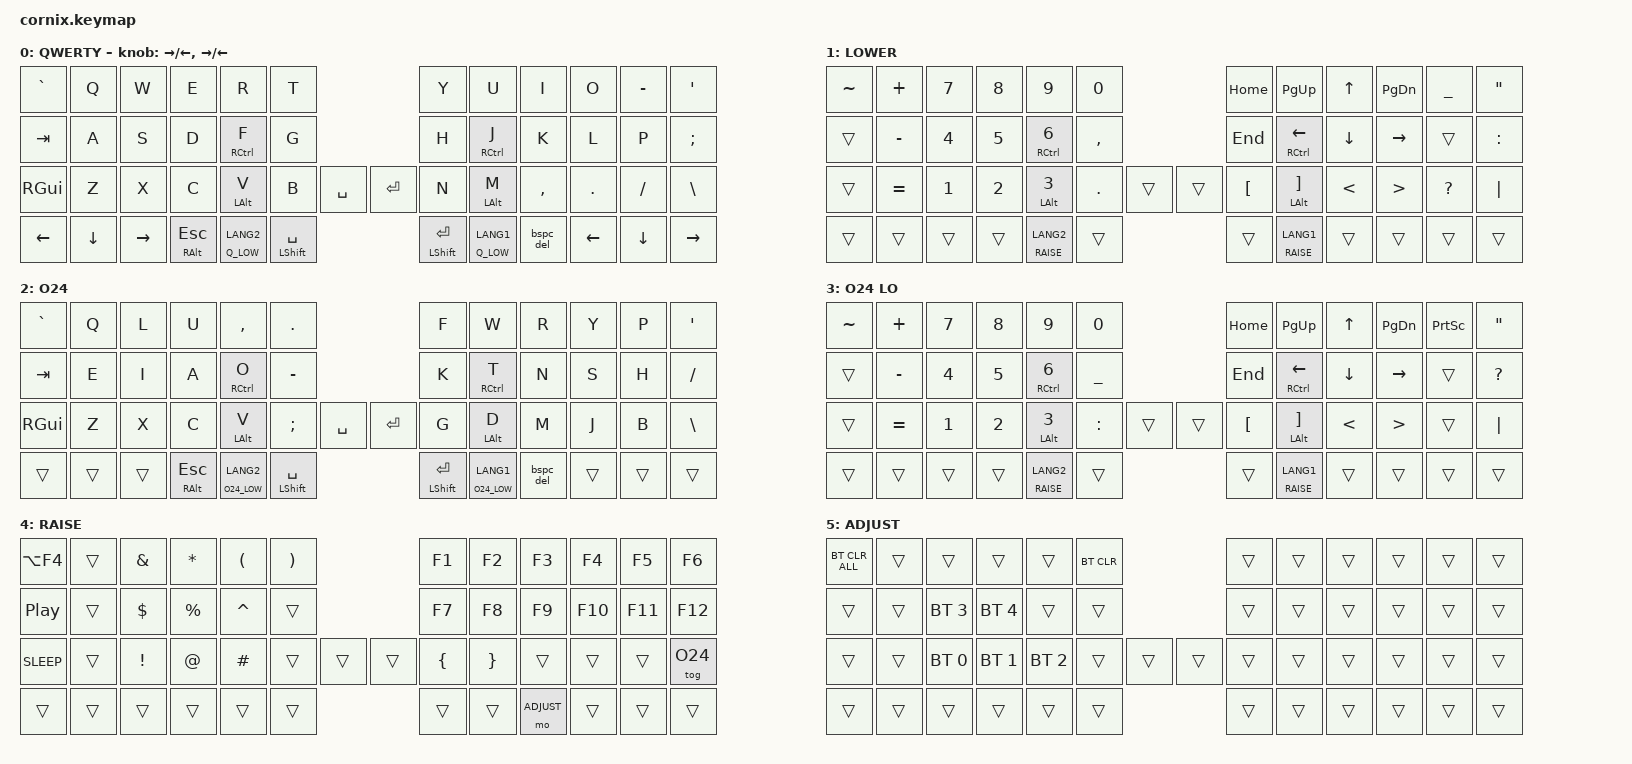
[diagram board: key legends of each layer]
/*
 * Copyright (c) 2020 The ZMK Contributors
 *
 * SPDX-License-Identifier: MIT
 */

#include "zmk-helpers/helper.h"
#include "includes/cornix54.h"
#include <behaviors.dtsi>
#include <dt-bindings/zmk/bt.h>
#include <dt-bindings/zmk/keys.h>
#include <dt-bindings/zmk/ext_power.h>

#define QWERTY  0
#define Q_LOW   1
#define O24     2
#define O24_LOW 3
#define RAISE   4
#define ADJUST  5

// https://github.com/urob/zmk-config/tree/main#timeless-homerow-mods

/ {
    // Activate ADJUST layer by pressing raise and lower

    behaviors {
        hm: homerow_mods {
            compatible = "zmk,behavior-hold-tap";
            #binding-cells = <2>;
            bindings = <&kp>, <&kp>;

            flavor = "tap-preferred";
            tapping-term-ms = <180>;
            quick-tap-ms = <180>;
            require-prior-idle-ms = <125>;
        };

        bspc_del: backspace_delete {
            compatible = "zmk,behavior-mod-morph";
            display-name = "Backspace/Delete";
            #binding-cells = <0>;
            bindings = <&kp BACKSPACE>, <&kp DELETE>;
            mods = <(MOD_LSFT|MOD_RSFT)>;
        };

        tdquit: tap_dance_quit {
            compatible = "zmk,behavior-tap-dance";
            display-name = "Tap Dance/App Quit";
            #binding-cells = <0>;
            bindings = <&kp TILDE>, <&kp LA(F4)>;
            tapping-term-ms = <180>;
        };
    };

    keymap {
        compatible = "zmk,keymap";

        qwerty_layer {
            display-name = "QWERTY";
            bindings = <
&kp GRAVE           &kp Q               &kp W               &kp E               &kp R               &kp T                                                       &kp Y               &kp U               &kp I               &kp O               &kp MINUS           &kp SQT
&kp TAB             &kp A               &kp S               &kp D               &hm RCTRL F         &kp G                                                       &kp H               &hm RCTRL J         &kp K               &kp L               &kp P               &kp SEMI
&kp RGUI            &kp Z               &kp X               &kp C               &hm LALT  V         &kp B               &kp SPACE           &kp ENTER           &kp N               &hm LALT  M         &kp COMMA           &kp DOT             &kp FSLH            &kp BSLH
&kp LEFT            &kp DOWN            &kp RIGHT           &hm RALT ESC        &lt Q_LOW LANG2     &hm LSHIFT SPACE                                            &hm LSHIFT ENTER    &lt Q_LOW LANG1     &bspc_del           &kp LEFT            &kp DOWN            &kp RIGHT
            >;
            sensor-bindings = <&inc_dec_kp RIGHT LEFT &inc_dec_kp RIGHT LEFT>;
        };

        qwerty_lower_layer {
            display-name = "LOWER";
            bindings = <
&kp TILDE           &kp PLUS            &kp N7              &kp N8              &kp N9              &kp N0                                                      &kp HOME            &kp PG_UP           &kp UP              &kp PG_DN           &kp UNDER           &kp DQT
&trans              &kp MINUS           &kp N4              &kp N5              &hm RCTRL N6        &kp COMMA                                                   &kp END             &hm RCTRL LEFT      &kp DOWN            &kp RIGHT           &trans              &kp COLON
&trans              &kp EQUAL           &kp N1              &kp N2              &hm LALT  N3        &kp DOT             &trans              &trans              &kp LBKT            &hm LALT  RBKT      &kp LT              &kp GT              &kp QMARK           &kp PIPE
&trans              &trans              &trans              &trans              &lt RAISE LANG2     &trans                                                      &trans              &lt RAISE LANG1     &trans              &trans              &trans              &trans
            >;
        };

        o24_layer {
            display-name = "O24";
            bindings = <
&kp GRAVE           &kp Q               &kp L               &kp U               &kp COMMA           &kp DOT                                                     &kp F               &kp W               &kp R               &kp Y               &kp P               &kp SQT
&kp TAB             &kp E               &kp I               &kp A               &hm RCTRL O         &kp MINUS                                                   &kp K               &hm RCTRL T         &kp N               &kp S               &kp H               &kp FSLH
&kp RGUI            &kp Z               &kp X               &kp C               &hm LALT  V         &kp SEMI            &kp SPACE           &kp ENTER           &kp G               &hm LALT  D         &kp M               &kp J               &kp B               &kp BSLH
&trans              &trans              &trans              &hm RALT ESC        &lt O24_LOW LANG2   &hm LSHIFT SPACE                                            &hm LSHIFT ENTER    &lt O24_LOW LANG1   &bspc_del           &trans              &trans              &trans
            >;
        };

        o24_lower_layer {
            display-name = "O24 LO";
            bindings = <
&kp TILDE           &kp PLUS            &kp N7              &kp N8              &kp N9              &kp N0                                                      &kp HOME            &kp PG_UP           &kp UP              &kp PG_DN           &kp PSCRN           &kp DQT
&trans              &kp MINUS           &kp N4              &kp N5              &hm RCTRL N6        &kp UNDER                                                   &kp END             &hm RCTRL LEFT      &kp DOWN            &kp RIGHT           &trans              &kp QMARK
&trans              &kp EQUAL           &kp N1              &kp N2              &hm LALT  N3        &kp COLON           &trans              &trans              &kp LBKT            &hm LALT  RBKT      &kp LT              &kp GT              &trans              &kp PIPE
&trans              &trans              &trans              &trans              &lt RAISE LANG2     &trans                                                      &trans              &lt RAISE LANG1     &trans              &trans              &trans              &trans
            >;
        };

        raise_layer {
            display-name = "RAISE";
            bindings = <
&kp LA(F4)          &trans              &kp AMPS            &kp ASTRK           &kp LPAR            &kp RPAR                                                    &kp F1              &kp F2              &kp F3              &kp F4              &kp F5              &kp F6
&kp C_PLAY_PAUSE    &trans              &kp DLLR            &kp PRCNT           &kp CARET           &trans                                                      &kp F7              &kp F8              &kp F9              &kp F10             &kp F11             &kp F12
&kp C_SLEEP         &trans              &kp EXCL            &kp AT              &kp HASH            &trans              &trans              &trans              &kp LBRC            &kp RBRC            &trans              &trans              &trans              &tog O24
&trans              &trans              &trans              &trans              &trans              &trans                                                      &trans              &trans              &mo ADJUST          &trans              &trans              &trans
            >;
        };

        adjust_layer {
            display-name = "ADJUST";
            bindings = <
&bt BT_CLR_ALL      &trans              &trans              &trans              &trans              &bt BT_CLR                                                  &trans              &trans              &trans              &trans              &trans              &trans
&trans              &trans              &bt BT_SEL 3        &bt BT_SEL 4        &trans              &trans                                                      &trans              &trans              &trans              &trans              &trans              &trans
&trans              &trans              &bt BT_SEL 0        &bt BT_SEL 1        &bt BT_SEL 2        &trans              &trans              &trans              &trans              &trans              &trans              &trans              &trans              &trans
&trans              &trans              &trans              &trans              &trans              &trans                                                      &trans              &trans              &trans              &trans              &trans              &trans
            >;
        };
    };
};
